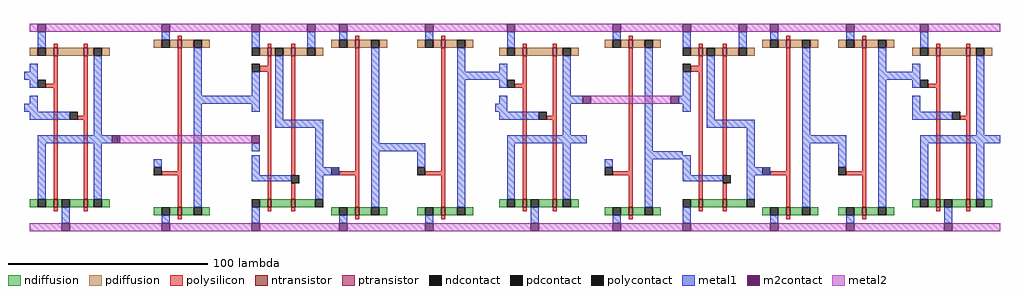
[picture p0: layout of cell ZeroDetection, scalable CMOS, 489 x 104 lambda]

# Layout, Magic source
magic
tech scmos
<< metal1 >>
rect -4 76 -1 80
rect 217 76 234 80
rect 428 76 441 80
rect 85 64 110 68
rect 270 64 276 68
rect 324 64 326 68
rect -4 60 -1 64
rect 232 60 234 64
rect 39 44 40 48
rect 390 44 408 48
rect 481 44 484 48
rect 110 40 114 44
rect 174 40 197 44
rect 61 32 65 36
rect 193 32 197 40
rect 311 36 326 40
rect 287 32 291 36
rect 404 32 408 44
<< metal2 >>
rect 43 100 61 104
rect 93 100 110 104
rect 182 100 193 104
rect 225 100 238 104
rect 278 100 287 104
rect 319 100 326 104
rect 398 100 404 104
rect 436 100 445 104
rect 280 64 320 68
rect 44 44 110 48
rect 43 0 61 4
rect 93 0 110 4
rect 182 0 193 4
rect 225 0 238 4
rect 278 0 287 4
rect 319 0 326 4
rect 398 0 404 4
rect 436 0 445 4
<< m2contact >>
rect 276 64 280 68
rect 320 64 324 68
rect 40 44 44 48
rect 110 44 114 48
use and  and_0
transform 1 0 110 0 1 0
box 0 0 72 104
use and  and_1
transform 1 0 326 0 1 0
box 0 0 72 104
use nor  nor_0
transform 1 0 -1 0 1 0
box 0 0 44 104
use nor  nor_1
transform 1 0 234 0 1 0
box 0 0 44 104
use nor  nor_2
transform 1 0 441 0 1 0
box 0 0 44 104
use not  not_0
transform 1 0 53 0 1 0
box 8 0 40 104
use not  not_1
transform 1 0 185 0 1 0
box 8 0 40 104
use not  not_2
transform 1 0 279 0 1 0
box 8 0 40 104
use not  not_3
transform 1 0 396 0 1 0
box 8 0 40 104
<< end >>

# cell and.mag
magic
tech scmos
<< metal1 >>
rect 36 28 44 32
use nand  nand_0
transform 1 0 -4 0 1 0
box 4 0 44 104
use not  not_0
transform 1 0 32 0 1 0
box 8 0 40 104
<< end >>

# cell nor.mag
magic
tech scmos
<< polysilicon >>
rect 12 92 14 94
rect 27 92 29 94
rect 12 74 14 88
rect 8 72 14 74
rect 12 16 14 72
rect 27 58 29 88
rect 24 56 29 58
rect 27 16 29 56
rect 12 10 14 12
rect 27 10 29 12
<< ndiffusion >>
rect 0 12 4 16
rect 8 12 12 16
rect 14 12 16 16
rect 20 12 27 16
rect 29 12 32 16
rect 36 12 40 16
<< pdiffusion >>
rect 0 88 4 92
rect 8 88 12 92
rect 14 88 27 92
rect 29 88 32 92
rect 36 88 40 92
<< metal1 >>
rect 4 92 8 100
rect 0 72 4 84
rect 0 60 4 68
rect 0 56 20 60
rect 32 48 36 88
rect 4 44 44 48
rect 4 16 8 44
rect 32 16 36 44
rect 16 4 20 12
<< metal2 >>
rect 0 100 4 104
rect 8 100 44 104
rect 0 0 16 4
rect 20 0 44 4
<< ntransistor >>
rect 12 12 14 16
rect 27 12 29 16
<< ptransistor >>
rect 12 88 14 92
rect 27 88 29 92
<< polycontact >>
rect 4 72 8 76
rect 20 56 24 60
<< ndcontact >>
rect 4 12 8 16
rect 16 12 20 16
rect 32 12 36 16
<< pdcontact >>
rect 4 88 8 92
rect 32 88 36 92
<< m2contact >>
rect 4 100 8 104
rect 16 0 20 4
<< labels >>
rlabel metal2 2 102 2 102 4 vdd
rlabel metal1 2 82 2 82 3 a
rlabel metal1 2 66 2 66 3 b
rlabel metal1 42 46 42 46 7 o
rlabel metal2 2 2 2 2 2 gnd
<< end >>

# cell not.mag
magic
tech scmos
<< polysilicon >>
rect 20 96 22 98
rect 20 30 22 92
rect 12 28 22 30
rect 20 12 22 28
rect 20 6 22 8
<< ndiffusion >>
rect 8 8 12 12
rect 16 8 20 12
rect 22 8 28 12
rect 32 8 36 12
<< pdiffusion >>
rect 8 92 12 96
rect 16 92 20 96
rect 22 92 28 96
rect 32 92 36 96
<< metal1 >>
rect 12 96 16 100
rect 28 12 32 92
rect 12 4 16 8
<< metal2 >>
rect 8 100 12 104
rect 16 100 40 104
rect 8 0 12 4
rect 16 0 40 4
<< ntransistor >>
rect 20 8 22 12
<< ptransistor >>
rect 20 92 22 96
<< polycontact >>
rect 8 28 12 32
<< ndcontact >>
rect 12 8 16 12
rect 28 8 32 12
<< pdcontact >>
rect 12 92 16 96
rect 28 92 32 96
<< m2contact >>
rect 12 100 16 104
rect 12 0 16 4
<< end >>

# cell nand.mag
magic
tech scmos
<< polysilicon >>
rect 12 92 14 94
rect 24 92 26 94
rect 12 83 14 88
rect 8 80 14 83
rect 12 16 14 80
rect 24 28 26 88
rect 24 16 26 24
rect 12 10 14 12
rect 24 10 26 12
<< ndiffusion >>
rect 8 12 12 16
rect 14 12 24 16
rect 26 12 36 16
<< pdiffusion >>
rect 8 88 12 92
rect 14 88 16 92
rect 20 88 24 92
rect 26 88 32 92
rect 36 88 40 92
<< metal1 >>
rect 4 92 8 100
rect 32 92 36 100
rect 4 60 8 80
rect 16 56 20 88
rect 16 52 40 56
rect 4 28 8 38
rect 4 25 24 28
rect 36 16 40 52
rect 4 4 8 12
<< metal2 >>
rect 8 100 32 104
rect 36 100 44 104
rect 8 0 44 4
<< ntransistor >>
rect 12 12 14 16
rect 24 12 26 16
<< ptransistor >>
rect 12 88 14 92
rect 24 88 26 92
<< polycontact >>
rect 4 80 8 84
rect 24 24 28 28
<< ndcontact >>
rect 4 12 8 16
rect 36 12 40 16
<< pdcontact >>
rect 4 88 8 92
rect 16 88 20 92
rect 32 88 36 92
<< m2contact >>
rect 4 100 8 104
rect 32 100 36 104
rect 4 0 8 4
<< end >>
